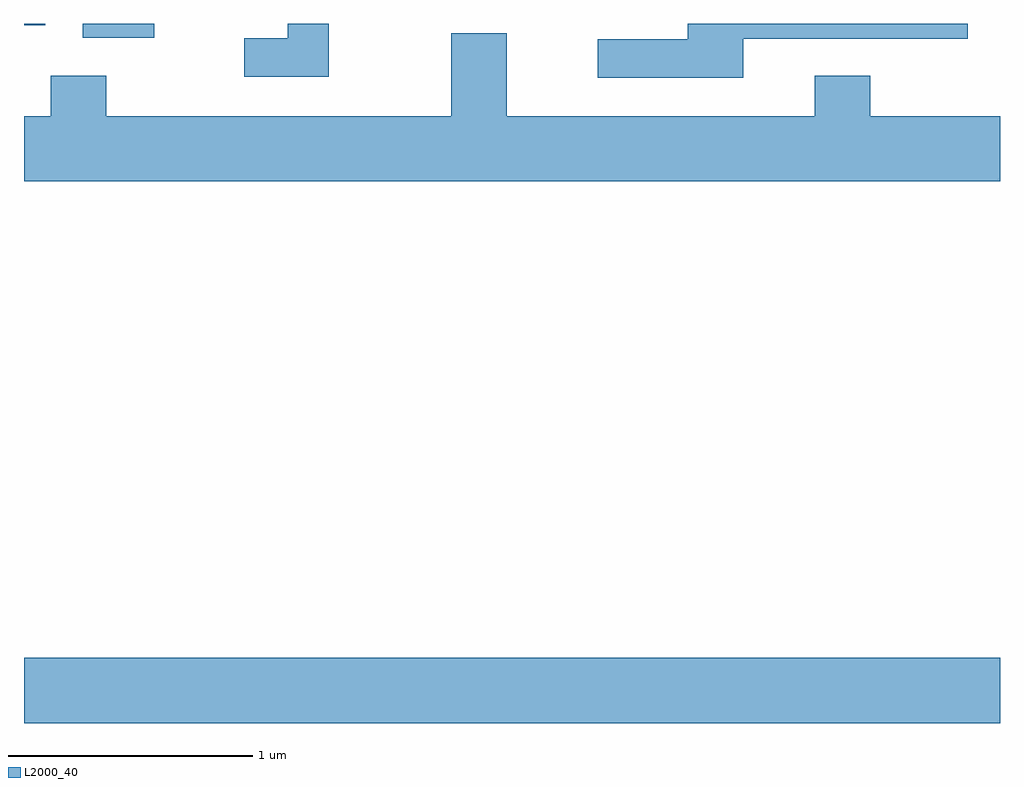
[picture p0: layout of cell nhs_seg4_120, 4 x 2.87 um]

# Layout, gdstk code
import gdstk
lib = gdstk.Library(unit=1e-6, precision=1e-09)
def R(c, l, rs):  # rectangles x0, y0, x1, y1
    for r in rs: c.add(gdstk.rectangle(r[:2], r[2:], *l))
def P(c, l, *ps):  # polygons
    for p in ps: c.add(gdstk.Polygon(p, *l))
L2000_40 = (2000, 40)

nhs_seg4_120 = lib.new_cell('nhs_seg4_120')
R(nhs_seg4_120, L2000_40, [(187.611,1359.116,191.611,1359.384), (187.851,1361.926,188.144,1361.982), (187.611,1361.976,187.699,1361.982)])
P(nhs_seg4_120, L2000_40, [(188.859,1361.982),(188.691,1361.982),(188.691,1361.924),(188.513,1361.924),(188.513,1361.766),(188.859,1361.766)],
  [(190.559,1361.921),(191.479,1361.921),(191.479,1361.982),(190.331,1361.982),(190.331,1361.919),(189.963,1361.919),(189.963,1361.761),(190.559,1361.761)],
  [(191.611,1361.604),(191.079,1361.604),(191.079,1361.769),(190.851,1361.769),(190.851,1361.604),(189.589,1361.604),(189.589,1361.944),(189.361,1361.944),(189.361,1361.604),(187.949,1361.604),(187.949,1361.769),(187.721,1361.769),(187.721,1361.604),(187.611,1361.604),(187.611,1361.336),(191.611,1361.336)])

lib.write_gds('nhs_seg4_120.gds')
